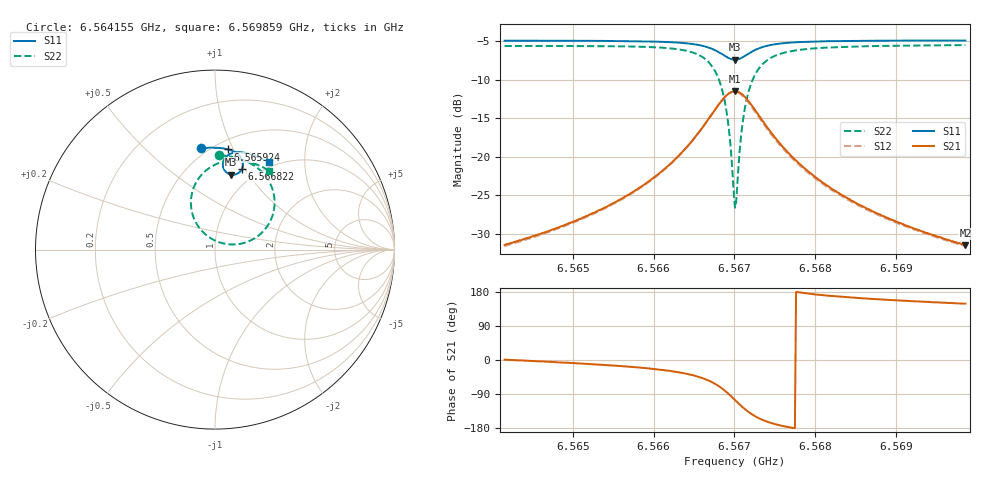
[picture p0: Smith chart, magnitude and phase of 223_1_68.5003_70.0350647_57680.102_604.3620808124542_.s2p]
#  HZ  S  RI  R  50.00
! Rohde & Schwarz Vector Network Analyzer
! Rohde-Schwarz,ZNB20-2Port,1311601062101988,3.16
! Created: UTC 3/20/2024, 4:58:37 PM
! freq[Hz]  re:S11  im:S11  re:S21  im:S21  re:S12  im:S12  re:S22  im:S22
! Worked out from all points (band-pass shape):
!   401 points, 6.564155 GHz to 6.569859 GHz, reference 50 ohm
!   highest |S21| = -11.47 dB at 6.567007 GHz (marker M1); lowest = -31.5 dB at 6.569859 GHz (marker M2)
!   |S21| within 3 dB of the highest: 6.566721 GHz to 6.567292 GHz (570.8 kHz wide, 0.00869 % of centre)
!   lowest |S11| = -7.4 dB at 6.567007 GHz (marker M3), VSWR 2.49, Z = 40.6 + j41.5 ohm
!   |S11| at or under -10 dB: nowhere
!   |S22| runs from -26.6 to -5.5 dB; largest |S21 - S12| = 0.012
!   S11 on the Smith chart (normalised r, x): 6.564155 GHz: 0.46, +0.76; 6.565924 GHz: 0.58, +0.95; 6.566822 GHz: 0.84, +0.97; 6.569859 GHz: 0.93, +1.34
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6.5641555e9  -0.078 0.5638  0.0266 0.00042  0.0262 -0.000157  0.0212 0.5251
6.5651109e9  -0.000619 0.568  0.0393 -0.00662  0.0387 -0.00704  0.1096 0.514
6.5659237e9  0.0732 0.558  0.0633 -0.0254  0.0623 -0.0263  0.2088 0.4743
6.5660663e9  0.0879 0.5535  0.0704 -0.0329  0.0694 -0.0339  0.2315 0.4589
6.5663657e9  0.1213 0.5363  0.0897 -0.0618  0.0882 -0.0629  0.2871 0.4021
6.5665939e9  0.1472 0.5079  0.1037 -0.1112  0.1014 -0.1133  0.328 0.3066
6.5667222e9  0.1558 0.4793  0.0992 -0.1612  0.0952 -0.1641  0.3263 0.211
6.566822e9  0.1502 0.4497  0.0725 -0.2122  0.0658 -0.215  0.2801 0.1153
6.5669076e9  0.1293 0.4257  0.0197 -0.2514  0.00983 -0.2521  0.1838 0.0444
6.5669361e9  0.1185 0.4203  -0.00437 -0.259  -0.015 -0.2583  0.1402 0.032
6.5669931e9  0.0937 0.4172  -0.0579 -0.2602  -0.0689 -0.2556  0.0451 0.0345
6.5670074e9  0.0876 0.4182  -0.0713 -0.2572  -0.0822 -0.2517  0.0217 0.0413
6.5670359e9  0.0755 0.4225  -0.097 -0.2472  -0.1068 -0.2398  -0.0218 0.0619
6.567093e9  0.0563 0.4377  -0.1385 -0.2148  -0.1452 -0.205  -0.0894 0.1238
6.5671357e9  0.0476 0.4527  -0.1584 -0.1847  -0.1628 -0.1742  -0.1193 0.1791
6.5671928e9  0.0437 0.4731  -0.1709 -0.1445  -0.1723 -0.1343  -0.1341 0.2508
6.5672641e9  0.0477 0.4951  -0.1708 -0.1011  -0.1697 -0.0928  -0.1252 0.3254
6.5675207e9  0.0867 0.5343  -0.1279 -0.0221  -0.1251 -0.0185  -0.0284 0.4571
6.5679628e9  0.145 0.5425  -0.076 0.00798  -0.0744 0.00921  0.0929 0.4973
6.5683763e9  0.1862 0.5354  -0.0529 0.0133  -0.0517 0.0138  0.1602 0.4941
6.5689182e9  0.2317 0.5201  -0.0367 0.0144  -0.036 0.0147  0.2222 0.4777
6.5698593e9  0.3002 0.4858  -0.0227 0.0138  -0.0223 0.0141  0.3017 0.4394
